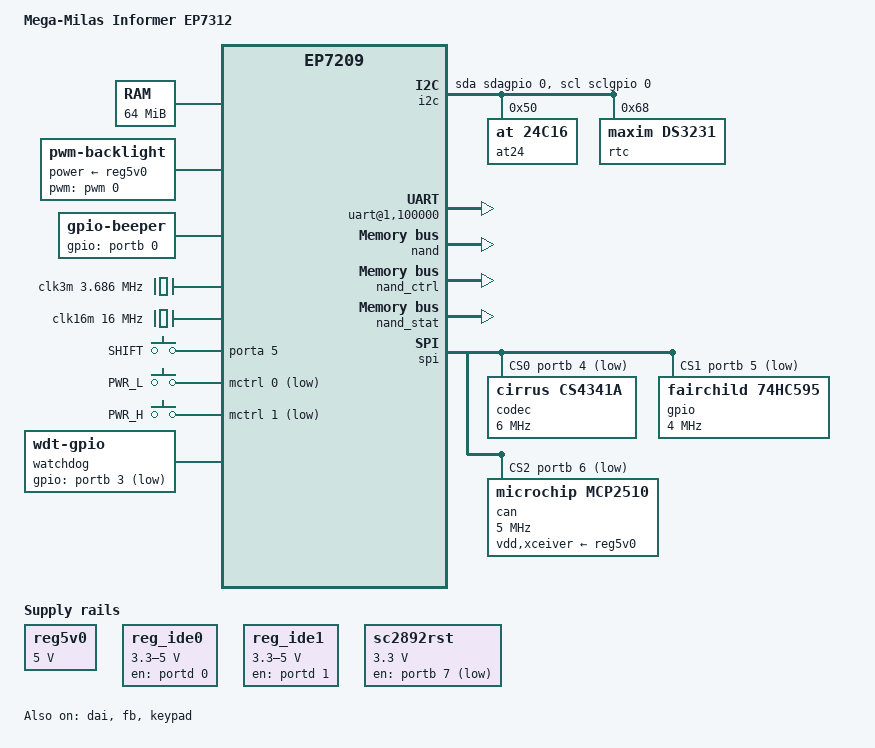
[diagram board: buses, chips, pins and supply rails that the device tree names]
#include <dt-bindings/gpio/gpio.h>
#include <dt-bindings/input/input.h>
#include <dt-bindings/input/linux-event-codes.h>

/ {
	model = "Mega-Milas Informer EP7312";
	compatible = "milas,informer-clps711x", "cirrus,ep7209";

	memory {
		device_type = "memory";
		reg = <0xc0000000 0x04000000>;
	};

	backlight: backlight {
		compatible = "pwm-backlight";
		pwms = <&pwm 0>;
		brightness-levels = <
			0x0 0x1 0x2 0x3 0x4 0x5 0x6 0x7
			0x8 0x9 0xa 0xb 0xc 0xd 0xe 0xf
		>;
		default-brightness-level = <0x0>;
		power-supply = <&reg5v0>;
	};

	beeper: beeper {
		compatible = "gpio-beeper";
		gpios = <&portb 0 GPIO_ACTIVE_HIGH>;
	};

	clocks {
		clk3m: clk3m {
			compatible = "fixed-clock";
			clock-frequency = <3686400>;
			#clock-cells = <0>;
		};

		clk16m: clk16m {
			compatible = "fixed-clock";
			clock-frequency = <16000000>;
			#clock-cells = <0>;
		};
	};

	display: display {
		model = "320x240x4";
		native-mode = <&timing0>;
		bits-per-pixel = <4>;
		ac-prescale = <17>;

		display-timings {
			timing0: 320x240 {
				hactive = <320>;
				hback-porch = <0>;
				hfront-porch = <0>;
				hsync-len = <0>;
				vactive = <240>;
				vback-porch = <0>;
				vfront-porch = <0>;
				vsync-len = <0>;
				clock-frequency = <6500000>;
			};
		};
	};

	i2c: i2c0 {
		compatible = "i2c-gpio";
		gpios = <&sdagpio 0 GPIO_ACTIVE_HIGH>,
			<&sclgpio 0 GPIO_ACTIVE_HIGH>;
		i2c-gpio,sda-open-drain;
		i2c-gpio,scl-open-drain;
		#address-cells = <1>;
		#size-cells = <0>;

		at24@50 {
			compatible = "at,24c16";
			reg = <0x50>;
			pagesize = <256>;
		};

		rtc@68 {
			compatible = "maxim,ds3231";
			reg = <0x68>;
			#clock-cells = <1>;
		};
	};

	reg5v0: reg5v0 {
		compatible = "regulator-fixed";
		regulator-name = "5V0";
		regulator-min-microvolt = <5000000>;
		regulator-max-microvolt = <5000000>;
	};

	reg_ide0: reg_ide0 {
		compatible = "regulator-gpio";
		regulator-type = "voltage";
		regulator-name = "IDE0";
		regulator-min-microvolt = <3300000>;
		regulator-max-microvolt = <5000000>;
		enable-gpio = <&portd 0 GPIO_ACTIVE_HIGH>;
		enable-active-high;
		gpios = <&portd 3 GPIO_ACTIVE_HIGH>,
			<&portd 2 GPIO_ACTIVE_HIGH>;
		states = <
			3300000 0x1
			5000000 0x2
		>;
		gpios-states = <0 1>;
		regulator-always-on;
		enable-at-boot;
	};

	reg_ide1: reg_ide1 {
		compatible = "regulator-gpio";
		regulator-type = "voltage";
		regulator-name = "IDE1";
		regulator-min-microvolt = <3300000>;
		regulator-max-microvolt = <5000000>;
		enable-gpio = <&portd 1 GPIO_ACTIVE_HIGH>;
		enable-active-high;
		gpios = <&portd 5 GPIO_ACTIVE_HIGH>,
			<&portd 4 GPIO_ACTIVE_HIGH>;
		states = <
			3300000 0x1
			5000000 0x2
		>;
		gpios-states = <0 1>;
		regulator-always-on;
		enable-at-boot;
	};

	sc2892rst: reg_sc2892rst {
		compatible = "regulator-fixed";
		regulator-name = "RST";
		regulator-min-microvolt = <3300000>;
		regulator-max-microvolt = <3300000>;
		gpio = <&portb 7 0>;
		startup-delay-us = <1>;
	};

	sound {
		compatible = "simple-audio-card";
		simple-audio-card,name = "DAICS4351";
		simple-audio-card,format = "left_j";
		simple-audio-card,bitclock-master = <&audio_master>;
		simple-audio-card,frame-master = <&audio_master>;

		audio_master: simple-audio-card,cpu {
			sound-dai = <&dai>;
			clocks = <&clks CLPS711X_CLK_DUMMY>;
		};

		simple-audio-card,codec {
			sound-dai = <&codec>;
		};
	};

	switches: switches {
		compatible = "gpio-keys-polled";
		poll-interval = <37>;

		button@0 {
			label = "SHIFT";
			linux,code = <SW_LID>;
			linux,input-type = <EV_SW>;
			gpios = <&porta 5 GPIO_ACTIVE_HIGH>;
		};

		button@1 {
			label = "PWR_L";
			linux,code = <SW_TABLET_MODE>;
			linux,input-type = <EV_SW>;
			gpios = <&mctrl 0 GPIO_ACTIVE_LOW>;
			debounce-interval = <0>;
		};

		button@2 {
			label = "PWR_H";
			linux,code = <SW_HEADPHONE_INSERT>;
			linux,input-type = <EV_SW>;
			gpios = <&mctrl 1 GPIO_ACTIVE_LOW>;
			debounce-interval = <0>;
		};
	};

	watchdog: watchdog {
		compatible = "linux,wdt-gpio";
		gpios = <&portb 3 GPIO_ACTIVE_LOW>;
		hw_algo = "toggle";
		hw_margin_ms = <1500>;
		always-running;
	};
};

&bus {
	rtc: rtc@1,0 {
		compatible = "maxim,ds1742";
		reg = <1 0x00000000 0x800>;
	};

	sdagpio: sdagpio@1,804 {
		compatible = "wd,mbl-gpio";
		reg = <1 0x00000804 0x1>;
		reg-names = "dat";
		gpio-controller;
		#gpio-cells = <2>;
	};

	sclgpio: sclgpio@1,805 {
		compatible = "wd,mbl-gpio";
		reg = <1 0x00000805 0x1>;
		reg-names = "dat";
		gpio-controller;
		#gpio-cells = <2>;
	};

	uart@1,100000 {
		compatible = "nxp,sc2892";
		reg = <1 0x00100000 0x10>;
		clocks = <&clk3m>;
		poll-interval = <2000>;
		nxp,sccnxp-io-cfg = <0x01000000 0x02000000>;
		vcc-supply = <&sc2892rst>;
	};

	bgpio@1,200000 {
		compatible = "ti,74244";
		reg = <1 0x00200000 0x1>;
		gpio-controller;
		#gpio-cells = <2>;
	};

	ide@2,0 {
		compatible = "ata-generic";
		reg = <
			2 0x00000000 0x20
			2 0x00080018 0x04
		>;
		interrupts = <5>;
		reg-shift = <2>;
		pio-mode = <2>;
		ata-generic,use16bit;
		vcc-supply = <&reg_ide0>;
	};

	ide@2,100000 {
		compatible = "ata-generic";
		reg = <
			2 0x00100000 0x20
			2 0x00180018 0x04
		>;
		interrupts = <6>;
		reg-shift = <2>;
		pio-mode = <2>;
		ata-generic,use16bit;
		vcc-supply = <&reg_ide1>;
	};

	nand: nand@3,0 {
		compatible = "gpio-control-nand";
		reg = <3 0x00000000 0x2>;
		chip-delay = <25>;
		ale-gpios = <&nand_ctrl 1 0>;
		cle-gpios = <&nand_ctrl 0 0>;
		nwp-gpios = <&nand_ctrl 2 0>;
		nce-gpios = <&nand_ctrl 4 0>,
			    <&nand_ctrl 5 0>;
		rdy-gpios = <&nand_stat 1 0>,
			    <&nand_stat 2 0>;
		#address-cells = <1>;
		#size-cells = <1>;

		partition@0 {
			label = "nand-gpio";
			reg = <0 0>;
		};
	};

	nand_ctrl: bgpio@3,8004 {
		compatible = "ti,74174";
		reg = <3 0x00008004 0x1>;
		gpio-controller;
		#gpio-cells = <2>;
	};

	nand_stat: bgpio@3,8014 {
		compatible = "ti,74365";
		reg = <3 0x00008014 0x1>;
		gpio-controller;
		#gpio-cells = <2>;
	};
};

&clks {
	startup-frequency = <92160000>;
};

&dai {
	status = "okay";
};

&fb {
	display = <&display>;
	lcd-supply = <&reg5v0>;
	status = "okay";
};

&keypad {
	autorepeat;
	poll-interval = <67>;
	row-gpios = <&porta 0 GPIO_ACTIVE_HIGH>,
		    <&porta 1 GPIO_ACTIVE_HIGH>,
		    <&porta 2 GPIO_ACTIVE_HIGH>,
		    <&porta 3 GPIO_ACTIVE_HIGH>,
		    <&porta 4 GPIO_ACTIVE_HIGH>;
	linux,keymap = <
		MATRIX_KEY(0,4,0x35)
		MATRIX_KEY(0,5,0x3a)
		MATRIX_KEY(0,6,0x3f)
		MATRIX_KEY(0,7,0x44)
		MATRIX_KEY(1,0,0x22)
		MATRIX_KEY(1,1,0x27)
		MATRIX_KEY(1,2,0x2c)
		MATRIX_KEY(1,3,0x31)
		MATRIX_KEY(2,0,0x23)
		MATRIX_KEY(2,1,0x28)
		MATRIX_KEY(2,2,0x2d)
		MATRIX_KEY(2,3,0x32)
		MATRIX_KEY(3,0,0x24)
		MATRIX_KEY(3,1,0x29)
		MATRIX_KEY(3,2,0x2e)
		MATRIX_KEY(3,3,0x33)
		MATRIX_KEY(4,0,0x25)
		MATRIX_KEY(4,1,0x2a)
		MATRIX_KEY(4,2,0x2f)
		MATRIX_KEY(4,3,0x34)
	>;
	status = "okay";
};

&spi {
	cs-gpios = <&portb 4 GPIO_ACTIVE_LOW>,
		   <&portb 5 GPIO_ACTIVE_LOW>,
		   <&portb 6 GPIO_ACTIVE_LOW>;
	status = "okay";

	codec: codec@0 {
		#sound-dai-cells = <0>;
		compatible = "cirrus,cs4341a";
		reg = <0>;
		spi-max-frequency = <6000000>;
	};

	gpio@1 {
		compatible = "fairchild,74hc595";
		reg = <1>;
		spi-max-frequency = <4000000>;
		registers-number = <1>;
		gpio-controller;
		#gpio-cells = <2>;
	};

	can@2 {
		compatible = "microchip,mcp2510";
		reg = <2>;
		spi-max-frequency = <5000000>;
		clocks = <&clk16m>;
		interrupts = <7>;
		vdd-supply = <&reg5v0>;
		xceiver-supply = <&reg5v0>;
	};
};
